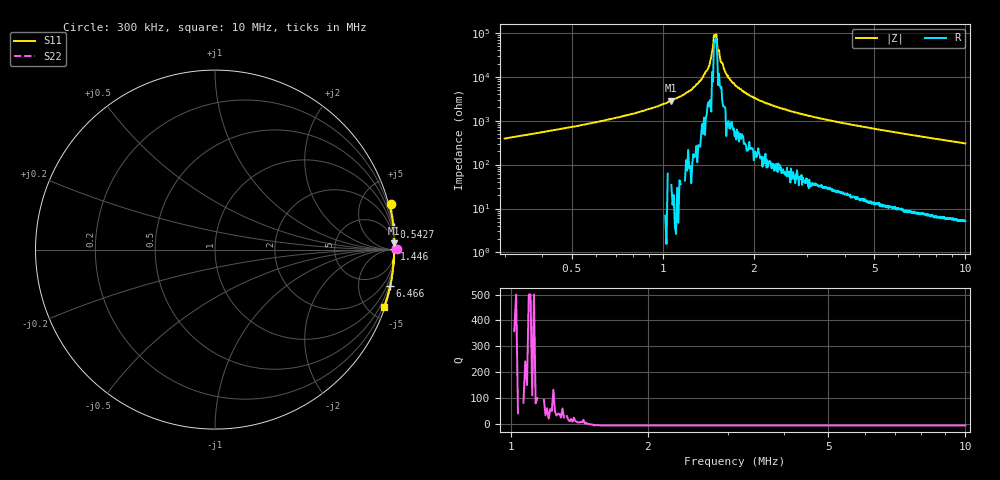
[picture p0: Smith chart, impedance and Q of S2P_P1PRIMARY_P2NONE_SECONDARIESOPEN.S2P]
!Keysight Technologies,E5061B,MY49709559,B.05.06
!Date: Thu Apr 07 18:53:31 2022
!Data & Calibration Information:
!Freq	S11:SOLT2(ON)	S21:SOLT2(ON)	S12:SOLT2(ON)	S22:SOLT2(ON)
# Hz S RI R 50
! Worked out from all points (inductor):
!   1000 points, 300 kHz to 10 MHz, reference 50 ohm
!   read as one part to ground: L = 202 uH near 348.5 kHz
!   highest Q = 151 at 1.067 MHz (marker M1), where L = 425 uH
!   self-resonance near 1.485 MHz
!   S11 on the Smith chart (normalised r, x): 300 kHz: -0.37, +7.82; 542.7 kHz: -0, +16; 1.446 MHz: open; 6.466 MHz: 0.18, -9.74; 10 MHz: 0.10, -6.07
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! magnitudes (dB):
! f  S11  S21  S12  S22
! 300 kHz  0.1  -83.2  -99.5  0.1
! 358.3 kHz  0.0  -95.4  -86.1  0.0
! 387.4 kHz  0.0  -85.1  -87.3  0.0
! 435.9 kHz  0.0  -88.5  -84.9  0.0
! 542.7 kHz  0.0  -87.2  -93.4  0.0
! 707.8 kHz  0.0  -92.8  -88.7  0.0
! 853.5 kHz  0.0  -84.4  -98.6  0.0
! 1.067 MHz  0.0  -97.8  -89.7  0.0
! 1.446 MHz  0.0  -84.9  -98.8  0.0
! 1.582 MHz  0.0  -92.1  -97.4  0.0
! 1.805 MHz  0.0  -100.2  -87.5  0.0
! 1.922 MHz  0.0  -95.3  -86.3  0.0
! 2.213 MHz  0.0  -92.6  -95.0  0.0
! 2.349 MHz  0.0  -93.5  -96.5  0.0
! 2.543 MHz  0.0  -94.7  -89.5  0.0
! 2.64 MHz  0.0  -86.0  -89.2  0.0
! 3.543 MHz  0.0  -86.1  -98.0  0.0
! 5.155 MHz  0.0  -83.7  -93.7  0.0
! 6.466 MHz  0.0  -93.1  -87.9  0.0
! 6.767 MHz  0.0  -95.1  -92.4  0.0
! 8.388 MHz  0.0  -97.9  -99.4  0.0
! 10 MHz  0.0  -87.5  -92.6  0.0
